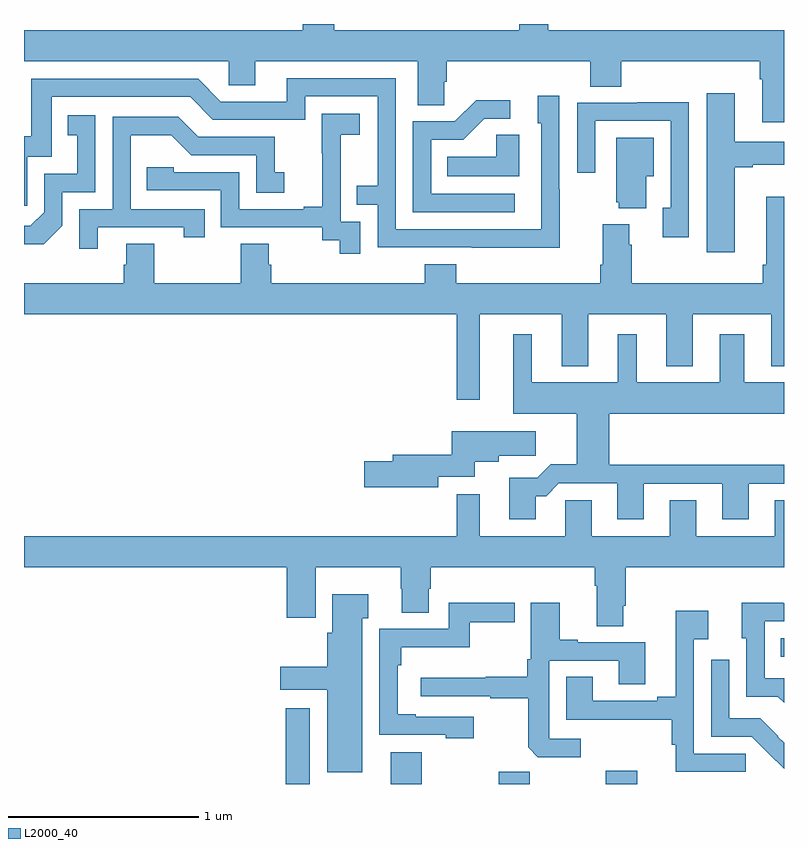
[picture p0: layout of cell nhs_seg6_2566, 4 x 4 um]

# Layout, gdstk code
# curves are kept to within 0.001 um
import gdstk
lib = gdstk.Library(unit=1e-6, precision=1e-09)
def R(c, l, rs):  # rectangles x0, y0, x1, y1
    for r in rs: c.add(gdstk.rectangle(r[:2], r[2:], *l))
def P(c, l, *ps):  # polygons
    for p in ps: c.add(gdstk.Polygon(p, *l))
L2000_40 = (2000, 40)

nhs_seg6_2566 = lib.new_cell('nhs_seg6_2566')
R(nhs_seg6_2566, L2000_40, [(264.377,975.5,264.505,975.898), (264.929,975.5,265.093,975.667), (265.499,975.5,265.663,975.565), (266.063,975.5,266.227,975.571), (266.983,976.17,267,976.266)])
P(nhs_seg6_2566, L2000_40, [(267,979.468),(265.759,979.468),(265.759,979.5),(265.607,979.5),(265.607,979.468),(264.632,979.468),(264.632,979.5),(264.467,979.5),(264.467,979.468),(263,979.468),(263,979.304),(264.078,979.304),(264.078,979.177),(264.217,979.177),(264.217,979.304),(265.073,979.304),(265.073,979.072),(265.212,979.072),(265.212,979.195),(265.226,979.195),(265.226,979.304),(265.979,979.304),(265.979,979.171),(266.144,979.171),(266.144,979.304),(266.873,979.304),(266.873,979.208),(266.885,979.208),(266.885,978.984),(267,978.984)],
  [(265.821,978.629),(265.818,978.629),(265.818,979.123),(265.703,979.123),(265.703,978.978),(265.722,978.978),(265.722,978.42),(264.957,978.42),(264.957,979.215),(264.383,979.215),(264.383,979.092),(264.036,979.092),(263.916,979.212),(263.037,979.212),(263.037,978.91),(263,978.91),(263,978.543),(263.016,978.543),(263.016,978.801),(263.145,978.801),(263.145,979.116),(263.874,979.116),(263.994,978.996),(264.48,978.996),(264.48,979.119),(264.861,979.119),(264.861,978.65),(264.751,978.65),(264.751,978.549),(264.861,978.549),(264.861,978.324),(265.821,978.323)],
  [(266.74,978.746),(266.836,978.746),(266.836,978.758),(267,978.758),(267,978.88),(266.74,978.88),(266.74,979.135),(266.594,979.135),(266.594,978.3),(266.74,978.3)],
  [(265.582,978.606),(265.143,978.606),(265.143,978.891),(265.312,978.891),(265.423,979.002),(265.558,979.002),(265.558,979.1),(265.379,979.1),(265.266,978.987),(265.047,978.987),(265.047,978.51),(265.582,978.51)],
  [(266.499,979.088),(266.227,979.088),(266.227,979.086),(265.911,979.086),(265.911,978.717),(266.007,978.717),(266.007,978.99),(266.403,978.99),(266.403,978.534),(266.363,978.534),(266.363,978.378),(266.499,978.378)],
  [(264.771,978.459),(264.666,978.459),(264.666,978.689),(264.668,978.689),(264.668,978.917),(264.766,978.917),(264.766,979.027),(264.568,979.027),(264.568,978.821),(264.569,978.821),(264.569,978.538),(264.473,978.538),(264.473,978.525),(264.132,978.525),(264.132,978.72),(263.787,978.72),(263.787,978.747),(263.647,978.747),(263.647,978.624),(264.036,978.624),(264.036,978.429),(264.57,978.429),(264.57,978.361),(264.663,978.361),(264.663,978.291),(264.771,978.291)],
  [(263.202,978.438),(263.202,978.615),(263.376,978.615),(263.376,979.021),(263.23,979.021),(263.23,978.915),(263.279,978.915),(263.279,978.711),(263.106,978.711),(263.106,978.51),(263.034,978.438),(263,978.438),(263,978.341),(263.104,978.341)],
  [(263.389,978.429),(263.84,978.429),(263.84,978.378),(263.951,978.378),(263.951,978.525),(263.562,978.525),(263.562,978.914),(263.776,978.914),(263.88,978.81),(264.222,978.81),(264.222,978.612),(264.37,978.612),(264.37,978.721),(264.321,978.721),(264.321,978.906),(263.917,978.906),(263.812,979.011),(263.466,979.011),(263.466,978.525),(263.292,978.525),(263.292,978.318),(263.389,978.318)],
  [(265.606,978.917),(265.485,978.917),(265.485,978.802),(265.228,978.802),(265.228,978.698),(265.606,978.698)],
  [(266.275,978.698),(266.314,978.698),(266.314,978.901),(266.117,978.901),(266.117,978.561),(266.129,978.561),(266.129,978.53),(266.275,978.53)],
  [(265.399,977.972),(265.829,977.972),(265.829,977.699),(265.969,977.699),(265.969,977.972),(266.381,977.972),(266.381,977.699),(266.521,977.699),(266.521,977.972),(266.933,977.972),(266.933,977.699),(267,977.699),(267,978.592),(266.906,978.592),(266.906,978.232),(266.887,978.232),(266.887,978.136),(266.198,978.136),(266.198,978.338),(266.185,978.338),(266.185,978.445),(266.045,978.445),(266.045,978.232),(266.033,978.232),(266.033,978.136),(265.274,978.136),(265.274,978.235),(265.109,978.235),(265.109,978.136),(264.302,978.136),(264.302,978.234),(264.289,978.234),(264.289,978.344),(264.142,978.344),(264.142,978.136),(263.685,978.136),(263.685,978.344),(263.537,978.344),(263.537,978.234),(263.525,978.234),(263.525,978.136),(263,978.136),(263,977.972),(265.278,977.972),(265.278,977.523),(265.399,977.523)],
  [(265.693,977.015),(265.748,977.015),(265.815,977.082),(266.123,977.082),(266.123,976.893),(266.263,976.893),(266.263,977.079),(266.675,977.079),(266.675,976.893),(266.815,976.893),(266.815,977.079),(267,977.079),(267,977.18),(266.081,977.18),(266.081,977.45),(267,977.45),(267,977.614),(266.791,977.614),(266.791,977.866),(266.663,977.866),(266.663,977.614),(266.224,977.614),(266.224,977.866),(266.126,977.866),(266.126,977.614),(265.672,977.614),(265.672,977.866),(265.574,977.866),(265.574,977.45),(265.91,977.45),(265.91,977.183),(265.772,977.183),(265.702,977.113),(265.553,977.113),(265.553,976.893),(265.693,976.893)],
  [(265.18,977.118),(265.372,977.118),(265.372,977.195),(265.498,977.195),(265.498,977.227),(265.693,977.227),(265.693,977.356),(265.25,977.356),(265.25,977.234),(264.941,977.234),(264.941,977.198),(264.792,977.198),(264.792,977.063),(265.18,977.063)],
  [(266.155,976.438),(266.168,976.438),(266.168,976.64),(267,976.64),(267,976.994),(266.951,976.994),(266.951,976.804),(266.539,976.804),(266.539,976.994),(266.399,976.994),(266.399,976.804),(265.987,976.804),(265.987,976.994),(265.848,976.994),(265.848,976.804),(265.399,976.804),(265.399,977.026),(265.278,977.026),(265.278,976.804),(263,976.804),(263,976.64),(264.383,976.64),(264.383,976.374),(264.535,976.374),(264.535,976.64),(264.982,976.64),(264.982,976.527),(264.989,976.527),(264.989,976.402),(265.129,976.402),(265.129,976.527),(265.142,976.527),(265.142,976.64),(266.003,976.64),(266.003,976.544),(266.015,976.544),(266.015,976.33),(266.155,976.33)],
  [(264.781,976.373),(264.811,976.373),(264.811,976.498),(264.623,976.498),(264.623,976.296),(264.596,976.296),(264.596,976.117),(264.348,976.117),(264.348,975.995),(264.596,975.995),(264.596,975.563),(264.781,975.563)],
  [(267,976.056),(266.898,976.056),(266.898,976.356),(267,976.356),(267,976.452),(266.995,976.452),(266.995,976.454),(266.777,976.454),(266.777,976.266),(266.802,976.266),(266.802,975.96),(266.968,975.96),(267,975.928)],
  [(265.366,975.855),(265.063,975.855),(265.063,975.868),(264.966,975.868),(264.966,976.124),(264.986,976.124),(264.986,976.22),(265.345,976.22),(265.345,976.351),(265.582,976.351),(265.582,976.454),(265.236,976.454),(265.236,976.317),(264.87,976.317),(264.87,975.759),(265.221,975.759),(265.221,975.74),(265.366,975.74)],
  [(265.93,975.738),(265.764,975.738),(265.764,976.149),(266.129,976.149),(266.129,976.024),(266.269,976.024),(266.269,976.245),(265.915,976.245),(265.915,976.258),(265.819,976.258),(265.819,976.453),(265.668,976.453),(265.668,976.156),(265.648,976.156),(265.648,976.064),(265.429,976.064),(265.429,976.06),(265.089,976.06),(265.089,975.963),(265.453,975.963),(265.453,975.951),(265.653,975.951),(265.653,975.693),(265.705,975.642),(265.93,975.642)],
  [(266.799,975.66),(266.526,975.66),(266.526,976.262),(266.602,976.262),(266.602,976.411),(266.429,976.411),(266.429,975.959),(266.333,975.959),(266.333,975.939),(265.993,975.939),(265.993,976.064),(265.853,976.064),(265.853,975.838),(266.41,975.838),(266.41,975.707),(266.429,975.707),(266.429,975.564),(266.799,975.564)],
  [(267,975.717),(266.967,975.75),(266.969,975.752),(266.875,975.846),(266.712,975.846),(266.712,976.153),(266.616,976.153),(266.616,975.75),(266.829,975.75),(266.92,975.659),(266.921,975.66),(267,975.581)])

lib.write_gds('nhs_seg6_2566.gds')
